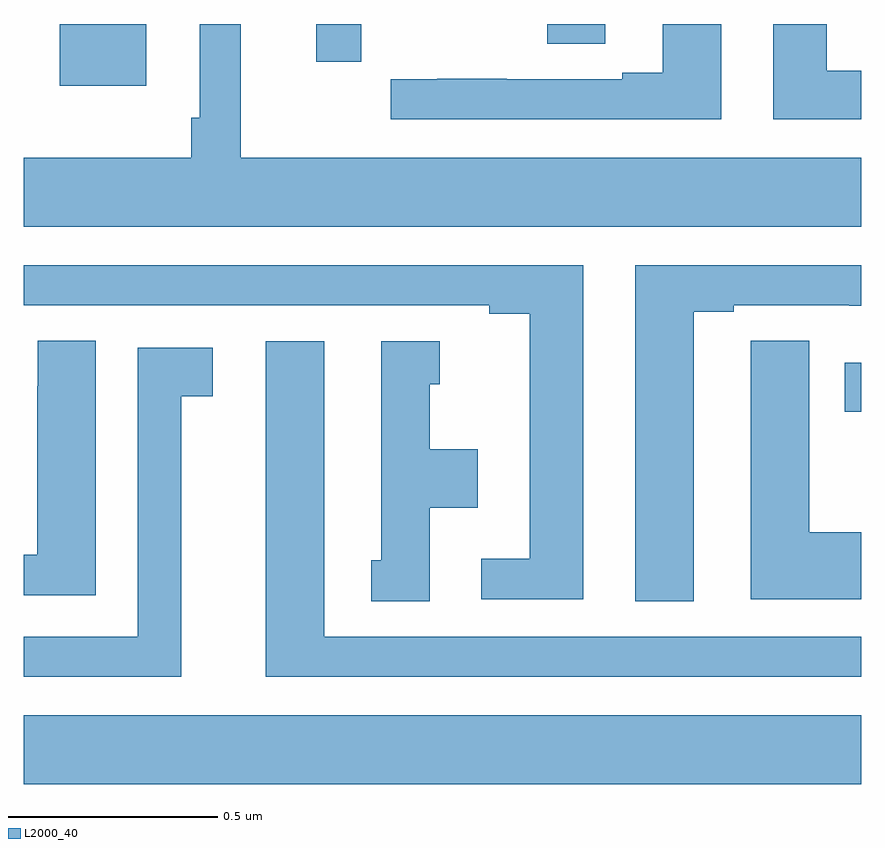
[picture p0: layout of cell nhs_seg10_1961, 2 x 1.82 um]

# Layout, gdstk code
import gdstk
lib = gdstk.Library(unit=1e-6, precision=1e-09)
def R(c, l, rs):  # rectangles x0, y0, x1, y1
    for r in rs: c.add(gdstk.rectangle(r[:2], r[2:], *l))
def P(c, l, *ps):  # polygons
    for p in ps: c.add(gdstk.Polygon(p, *l))
L2000_40 = (2000, 40)

nhs_seg10_1961 = lib.new_cell('nhs_seg10_1961')
R(nhs_seg10_1961, L2000_40, [(135,1265.684,137,1265.848), (136.961,1266.574,137,1266.69), (135.086,1267.352,135.292,1267.5), (135.698,1267.41,135.806,1267.5), (136.25,1267.453,136.389,1267.5)])
P(nhs_seg10_1961, L2000_40, [(137,1267.18),(135.518,1267.18),(135.518,1267.5),(135.42,1267.5),(135.42,1267.276),(135.4,1267.276),(135.4,1267.18),(135,1267.18),(135,1267.016),(137,1267.016)],
  [(136.666,1267.5),(136.526,1267.5),(136.526,1267.383),(136.43,1267.383),(136.43,1267.368),(136.154,1267.368),(136.154,1267.369),(135.988,1267.369),(135.988,1267.368),(135.876,1267.368),(135.876,1267.272),(136.666,1267.272)],
  [(137,1267.388),(136.918,1267.388),(136.918,1267.5),(136.79,1267.5),(136.79,1267.272),(137,1267.272)],
  [(136.6,1266.813),(136.696,1266.813),(136.696,1266.828),(136.972,1266.828),(136.972,1266.827),(137,1266.827),(137,1266.924),(136.46,1266.924),(136.46,1266.121),(136.6,1266.121)],
  [(136.336,1266.924),(135,1266.924),(135,1266.828),(136.112,1266.828),(136.112,1266.808),(136.208,1266.808),(136.208,1266.222),(136.092,1266.222),(136.092,1266.126),(136.336,1266.126)],
  [(135.172,1266.743),(135.033,1266.743),(135.033,1266.635),(135.032,1266.635),(135.032,1266.232),(135,1266.232),(135,1266.135),(135.172,1266.135)],
  [(137,1266.285),(136.876,1266.285),(136.876,1266.743),(136.737,1266.743),(136.737,1266.635),(136.736,1266.635),(136.736,1266.125),(137,1266.125)],
  [(137,1266.036),(135.718,1266.036),(135.718,1266.742),(135.578,1266.742),(135.578,1265.94),(137,1265.94)],
  [(135.97,1266.344),(136.084,1266.344),(136.084,1266.484),(135.97,1266.484),(135.97,1266.639),(135.994,1266.639),(135.994,1266.742),(135.854,1266.742),(135.854,1266.219),(135.83,1266.219),(135.83,1266.121),(135.97,1266.121)],
  [(135.376,1266.61),(135.451,1266.61),(135.451,1266.726),(135.272,1266.726),(135.272,1266.036),(135,1266.036),(135,1265.94),(135.376,1265.94)])

lib.write_gds('nhs_seg10_1961.gds')
